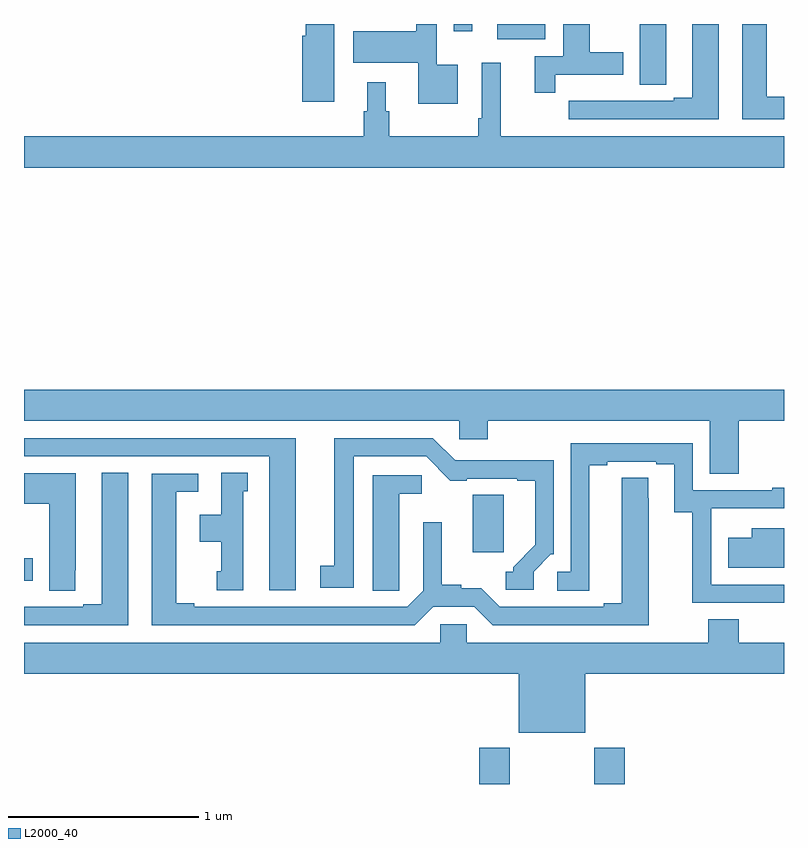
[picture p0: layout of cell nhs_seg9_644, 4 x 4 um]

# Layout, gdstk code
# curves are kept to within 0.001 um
import gdstk
lib = gdstk.Library(unit=1e-6, precision=1e-09)
def R(c, l, rs):  # rectangles x0, y0, x1, y1
    for r in rs: c.add(gdstk.rectangle(r[:2], r[2:], *l))
def P(c, l, *ps):  # polygons
    for p in ps: c.add(gdstk.Polygon(p, *l))
L2000_40 = (2000, 40)

nhs_seg9_644 = lib.new_cell('nhs_seg9_644')
R(nhs_seg9_644, L2000_40, [(145.397,1202.5,145.557,1202.692), (146.002,1202.5,146.162,1202.692), (143,1203.57,143.047,1203.687), (145.49,1206.419,145.744,1206.5), (145.263,1206.462,145.36,1206.5)])
P(nhs_seg9_644, L2000_40, [(146.656,1206.5),(146.516,1206.5),(146.516,1206.111),(146.42,1206.111),(146.42,1206.096),(146.144,1206.096),(146.144,1206.097),(145.978,1206.097),(145.978,1206.096),(145.866,1206.096),(145.866,1206),(146.656,1206)],
  [(145.796,1206.234),(146.155,1206.234),(146.155,1206.351),(145.978,1206.351),(145.978,1206.5),(145.838,1206.5),(145.838,1206.33),(145.688,1206.33),(145.688,1206.138),(145.796,1206.138)],
  [(147,1206.116),(146.908,1206.116),(146.908,1206.5),(146.78,1206.5),(146.78,1206),(147,1206)],
  [(145.282,1206.286),(145.173,1206.286),(145.173,1206.5),(145.065,1206.5),(145.065,1206.462),(144.732,1206.462),(144.732,1206.296),(145.076,1206.296),(145.076,1206.08),(145.282,1206.08)],
  [(146.379,1206.289),(146.38,1206.289),(146.38,1206.5),(146.24,1206.5),(146.24,1206.181),(146.379,1206.181)],
  [(144.634,1206.5),(144.482,1206.5),(144.482,1206.438),(144.464,1206.438),(144.464,1206.09),(144.634,1206.09)],
  [(147,1205.908),(145.508,1205.908),(145.508,1206.295),(145.41,1206.295),(145.41,1206.004),(145.39,1206.004),(145.39,1205.908),(144.923,1205.908),(144.923,1206.042),(144.904,1206.042),(144.904,1206.193),(144.806,1206.193),(144.806,1206.042),(144.787,1206.042),(144.787,1205.908),(143,1205.908),(143,1205.744),(147,1205.744)],
  [(146.762,1204.412),(147,1204.412),(147,1204.576),(143,1204.576),(143,1204.412),(145.29,1204.412),(145.29,1204.314),(145.442,1204.314),(145.442,1204.412),(146.609,1204.412),(146.609,1204.132),(146.762,1204.132)],
  [(145.683,1203.618),(145.773,1203.708),(145.788,1203.708),(145.788,1204.205),(145.525,1204.205),(145.525,1204.203),(145.269,1204.203),(145.152,1204.32),(144.632,1204.32),(144.632,1203.65),(144.558,1203.65),(144.558,1203.534),(144.736,1203.534),(144.736,1204.224),(145.116,1204.224),(145.244,1204.096),(145.33,1204.096),(145.33,1204.107),(145.595,1204.107),(145.595,1204.095),(145.691,1204.095),(145.691,1203.758),(145.575,1203.642),(145.575,1203.618),(145.536,1203.618),(145.536,1203.522),(145.683,1203.522)],
  [(144.43,1204.32),(143,1204.32),(143,1204.224),(144.29,1204.224),(144.29,1203.519),(144.43,1203.519)],
  [(147,1203.549),(146.616,1203.549),(146.616,1203.95),(146.618,1203.95),(146.618,1203.951),(147,1203.951),(147,1204.06),(146.939,1204.06),(146.939,1204.047),(146.52,1204.047),(146.52,1204.293),(145.878,1204.293),(145.878,1203.618),(145.806,1203.618),(145.806,1203.517),(145.975,1203.517),(145.975,1204.177),(146.071,1204.177),(146.071,1204.197),(146.327,1204.197),(146.327,1204.182),(146.423,1204.182),(146.423,1203.931),(146.518,1203.931),(146.518,1203.453),(147,1203.453)],
  [(143.548,1204.139),(143.408,1204.139),(143.408,1203.447),(143.312,1203.447),(143.312,1203.432),(143.036,1203.432),(143.036,1203.433),(143,1203.433),(143,1203.336),(143.548,1203.336)],
  [(144.154,1204.041),(144.178,1204.041),(144.178,1204.139),(144.038,1204.139),(144.038,1203.916),(143.924,1203.916),(143.924,1203.776),(144.038,1203.776),(144.038,1203.621),(144.014,1203.621),(144.014,1203.519),(144.154,1203.519)],
  [(143.271,1203.625),(143.272,1203.625),(143.272,1204.135),(143,1204.135),(143,1203.976),(143.132,1203.976),(143.132,1203.517),(143.271,1203.517)],
  [(145.153,1203.432),(145.371,1203.432),(145.467,1203.336),(146.287,1203.336),(146.286,1204.112),(146.147,1204.112),(146.147,1203.452),(146.051,1203.452),(146.051,1203.432),(145.503,1203.432),(145.406,1203.53),(145.302,1203.53),(145.302,1203.548),(145.198,1203.548),(145.198,1203.877),(145.101,1203.877),(145.101,1203.516),(145.017,1203.432),(143.896,1203.432),(143.896,1203.452),(143.8,1203.452),(143.8,1204.038),(143.917,1204.038),(143.917,1204.134),(143.672,1204.134),(143.672,1203.336),(145.057,1203.336)],
  [(144.975,1203.625),(144.976,1203.625),(144.976,1204.028),(145.093,1204.028),(145.093,1204.125),(144.836,1204.125),(144.836,1203.517),(144.975,1203.517)],
  [(145.525,1204.022),(145.363,1204.022),(145.363,1203.864),(145.361,1203.864),(145.361,1203.72),(145.525,1203.72)],
  [(147,1203.847),(146.831,1203.847),(146.831,1203.796),(146.706,1203.796),(146.706,1203.638),(147,1203.638)],
  [(145.954,1203.08),(147,1203.08),(147,1203.244),(146.762,1203.244),(146.762,1203.368),(146.602,1203.368),(146.602,1203.244),(145.329,1203.244),(145.329,1203.342),(145.191,1203.342),(145.191,1203.244),(143,1203.244),(143,1203.08),(145.604,1203.08),(145.604,1202.771),(145.954,1202.771)])

lib.write_gds('nhs_seg9_644.gds')
